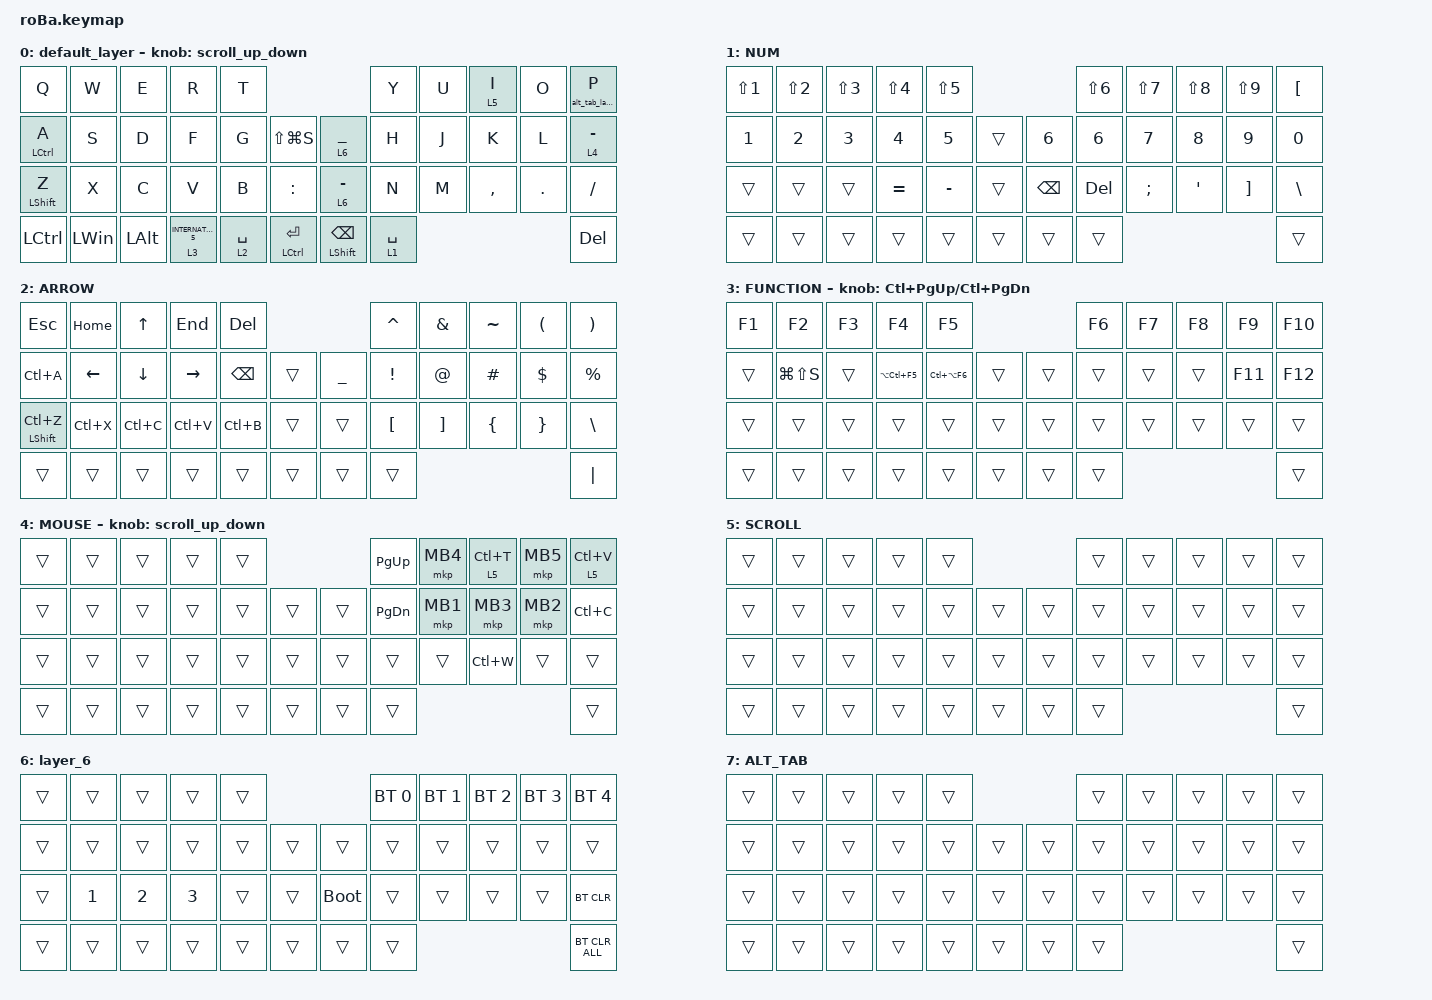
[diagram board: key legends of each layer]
#include <behaviors.dtsi>
#include <dt-bindings/zmk/bt.h>
#include <dt-bindings/zmk/keys.h>
#include <dt-bindings/zmk/pointing.h>

#define ZMK_POINTING_DEFAULT_SCRL_VAL 100 //2026.03.22 ロータリーエンコーダーのスクロール量
#define ALT_TAB 7

&mt {
    flavor = "balanced";
    quick-tap-ms = <0>;
};

&trackball {
    // automouse-layer = <4>;

    scroll-layers = <5>;

    alt_tab {
        layers = <ALT_TAB>;

        bindings =
            <&kp TAB>,
            <&kp LS(TAB)>,
            <&none>,
            <&none>;

        tick = <30>;
        wait-ms = <5>;
        tap-ms = <5>;
    };

    // arrows {
    //     layers = <3>;
    //     bindings =
    //         <&kp RIGHT_ARROW>,
    //         <&kp LEFT_ARROW>,
    //         <&kp UP_ARROW>,
    //         <&kp DOWN_ARROW>;
    //     tick = <10>;
    //     wait-ms = <5>;
    //     tap-ms = <5>;
    // };
};

/ {
    combos {
        compatible = "zmk,combos";

        tab {
            bindings = <&kp TAB>;
            key-positions = <11 12>;
        };

        shift_tab {
            bindings = <&kp LS(TAB)>;
            key-positions = <12 13>;
        };

        double_quotation {
            bindings = <&kp ESCAPE>;
            key-positions = <1 0>;
        };

        retrun {
            bindings = <&kp RETURN>;
            key-positions = <19 20>;
        };

        f7 {
            bindings = <&kp F7>;
            key-positions = <20 21>;
        };

        f10 {
            bindings = <&kp F10>;
            key-positions = <18 19>;
        };
    };

    macros {
        alt_tab_layer: alt_tab_layer {
            compatible = "zmk,behavior-macro";
            label = "ALT_TAB_LAYER";
            #binding-cells = <0>;
            wait-ms = <0>;
            tap-ms = <0>;

            bindings =
                <&macro_press &mo ALT_TAB &kp LALT>,
                <&macro_pause_for_release>,
                <&macro_release &kp LALT &mo ALT_TAB>;
        };

        to_layer_0: to_layer_0 {
            compatible = "zmk,behavior-macro-one-param";
            #binding-cells = <1>;
            bindings = <&to 0 &macro_param_1to1 &kp MACRO_PLACEHOLDER>;
            label = "TO_LAYER_0";
        };


    };

    behaviors {
        alt_tab_hold: alt_tab_hold {
            compatible = "zmk,behavior-hold-tap";
            label = "ALT_TAB_HOLD";

            #binding-cells = <2>;

            flavor = "tap-preferred";
            tapping-term-ms = <200>;

            bindings = <&alt_tab_layer>, <&kp>;
        };


        lt_to_layer_0: lt_to_layer_0 {
            compatible = "zmk,behavior-hold-tap";
            label = "LAYER_TAP_TO_0";
            bindings = <&mo>, <&to_layer_0>;

            #binding-cells = <2>;
            tapping-term-ms = <200>;
        };

        // 新しいスクロール動作の追加
        scroll_up_down: behavior_sensor_rotate_mouse_wheel_up_down {
            compatible = "zmk,behavior-sensor-rotate";
            #sensor-binding-cells = <0>;
            bindings = <&msc SCRL_DOWN>, <&msc SCRL_UP>;

            // 追加: スクロールのタップ時間を設定 (20ms)

            tap-ms = <20>;
        };

    };

    keymap {
        compatible = "zmk,keymap";

        // 0: デフォルトレイヤー
        default_layer {
            bindings = <
&kp Q             &kp W         &kp E         &kp R                  &kp T                                                       &kp Y        &kp U  &lt 5 I    &kp O    &alt_tab_hold 0 P
&mt LCTRL A       &kp S         &kp D         &kp F                  &kp G        &kp LS(LG(S))        &lt 6 UNDER               &kp H        &kp J  &kp K      &kp L    &lt 4 MINUS
&mt LEFT_SHIFT Z  &kp X         &kp C         &kp V                  &kp B        &kp COLON            &lt 6 MINUS               &kp N        &kp M  &kp COMMA  &kp DOT  &kp SLASH
&kp LCTRL         &kp LEFT_WIN  &kp LEFT_ALT  &lt 3 INTERNATIONAL_5  &lt 2 SPACE  &mt LCTRL ENTER      &mt LEFT_SHIFT BACKSPACE  &lt 1 SPACE                             &kp DEL
            >;

            sensor-bindings = <&scroll_up_down>;
        };

        // 1: 数字レイヤー  
        NUM {
            bindings = <
&kp LS(NUMBER_1)  &kp LS(NUMBER_2)  &kp LS(NUMBER_3)  &kp LS(NUMBER_4)  &kp LS(N5)                             &kp LS(NUMBER_6)  &kp LS(N7)     &kp LS(N8)        &kp LS(N9)         &kp LEFT_BRACKET
&kp NUMBER_1      &kp NUMBER_2      &kp NUMBER_3      &kp NUMBER_4      &kp N5      &trans      &kp NUMBER_6   &kp NUMBER_6      &kp N7         &kp N8            &kp N9             &kp N0
&trans            &trans            &trans            &kp EQUAL         &kp MINUS   &trans      &kp BACKSPACE  &kp DELETE        &kp SEMICOLON  &kp SINGLE_QUOTE  &kp RIGHT_BRACKET  &kp BSLH
&trans            &trans            &trans            &trans            &trans      &trans      &trans         &trans                                                                &trans
            >;
        };

        // 2: 矢印レイヤー
        ARROW {
            bindings = <
&kp ESCAPE            &kp HOME        &kp UP_ARROW    &kp END          &kp DELETE                                 &kp CARET         &kp AMPERSAND      &kp TILDE       &kp LEFT_PARENTHESIS  &kp RIGHT_PARENTHESIS
&kp LC(A)             &kp LEFT_ARROW  &kp DOWN_ARROW  &kp RIGHT_ARROW  &kp BACKSPACE  &trans      &kp UNDERSCORE  &kp EXCLAMATION   &kp AT_SIGN        &kp HASH        &kp DOLLAR            &kp PERCENT
&mt LEFT_SHIFT LC(Z)  &kp LC(X)       &kp LC(C)       &kp LC(V)        &kp LC(B)      &trans      &trans          &kp LEFT_BRACKET  &kp RIGHT_BRACKET  &kp LEFT_BRACE  &kp RIGHT_BRACE       &kp BACKSLASH
&trans                &trans          &trans          &trans           &trans         &trans      &trans          &trans                                                                     &kp PIPE
            >;
        };

        // 3: 関数レイヤー
        FUNCTION {
            bindings = <
&kp F1  &kp F2         &kp F3  &kp F4          &kp F5                              &kp F6  &kp F7  &kp F8  &kp F9   &kp F10
&trans  &kp LG(LS(S))  &trans  &kp LA(LC(F5))  &kp LC(LA(F6))  &trans      &trans  &trans  &trans  &trans  &kp F11  &kp F12
&trans  &trans         &trans  &trans          &trans          &trans      &trans  &trans  &trans  &trans  &trans   &trans
&trans  &trans         &trans  &trans          &trans          &trans      &trans  &trans                           &trans
            >;

            sensor-bindings = <&inc_dec_kp LC(PAGE_UP) LC(PAGE_DOWN)>;
        };

        // 4: マウスレイヤー
        MOUSE {
            bindings = <
&trans  &trans  &trans  &trans  &trans                      &kp PAGE_UP    &mkp MB4  &lt 5 LC(T)  &mkp MB5  &lt 5 LC(V)
&trans  &trans  &trans  &trans  &trans  &trans      &trans  &kp PAGE_DOWN  &mkp MB1  &mkp MB3     &mkp MB2  &kp LC(C)
&trans  &trans  &trans  &trans  &trans  &trans      &trans  &trans         &trans    &kp LC(W)    &trans    &trans
&trans  &trans  &trans  &trans  &trans  &trans      &trans  &trans                                          &trans
            >;

            sensor-bindings = <&scroll_up_down>;
        };

        // 5: スクロールレイヤー
        SCROLL {
            bindings = <
&trans  &trans  &trans  &trans  &trans                      &trans  &trans  &trans  &trans  &trans
&trans  &trans  &trans  &trans  &trans  &trans      &trans  &trans  &trans  &trans  &trans  &trans
&trans  &trans  &trans  &trans  &trans  &trans      &trans  &trans  &trans  &trans  &trans  &trans
&trans  &trans  &trans  &trans  &trans  &trans      &trans  &trans                          &trans
            >;
        };

        // 6: ボタンレイヤー
        layer_6 {
            bindings = <
&trans  &trans        &trans        &trans        &trans                           &bt BT_SEL 0  &bt BT_SEL 1  &bt BT_SEL 2  &bt BT_SEL 3  &bt BT_SEL 4
&trans  &trans        &trans        &trans        &trans  &trans      &trans       &trans        &trans        &trans        &trans        &trans
&trans  &kp NUMBER_1  &kp NUMBER_2  &kp NUMBER_3  &trans  &trans      &bootloader  &trans        &trans        &trans        &trans        &bt BT_CLR
&trans  &trans        &trans        &trans        &trans  &trans      &trans       &trans                                                  &bt BT_CLR_ALL
            >;
        };

        // 7: Alt+Tabレイヤー
        ALT_TAB {
            bindings = <
        &trans &trans &trans &trans &trans                      &trans &trans &trans &trans &trans
        &trans &trans &trans &trans &trans &trans      &trans  &trans &trans &trans &trans &trans
        &trans &trans &trans &trans &trans &trans      &trans  &trans &trans &trans &trans &trans
        &trans &trans &trans &trans &trans &trans      &trans  &trans                         &trans
            >;
        };

    };
};
